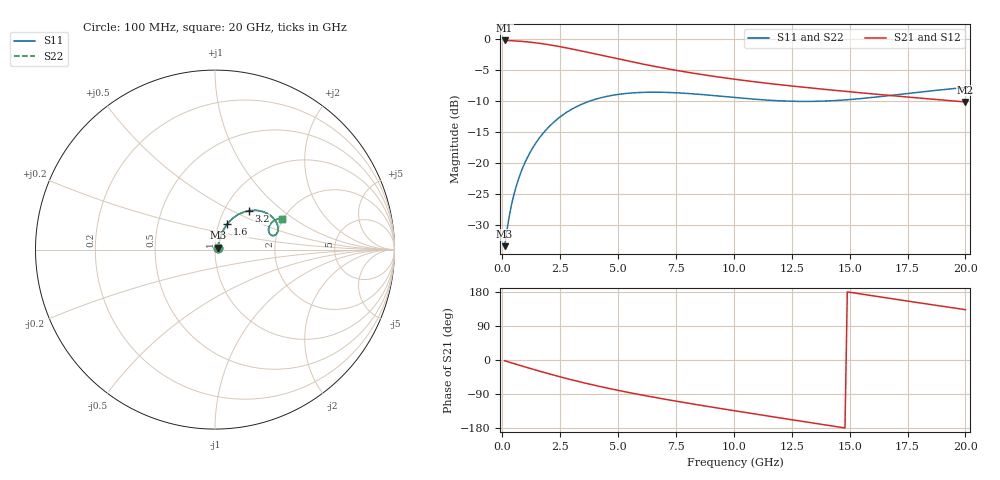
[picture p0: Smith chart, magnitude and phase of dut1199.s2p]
! Touchstone file exported from HFSS 2024.1.0
!  File:  C:/UserFiles/LocalFiles/RDL_TSV_Batchsim/temp_RDL_TSV_1199_1780130097.aedt
!  Generated:  04:47:11 PM May 30, 2026
!  Design:  RDL_TSV
!  Project:  temp_RDL_TSV_1199_1780130097
!  Setup:  Setup1
!  Solution:  Sweep
! Variables:
!  dtsv = 5.89um
!  hbump = 3um
!  htsv = 63.14um
!  ldown = 615.79um
!  lrdl = 410.81um
!  p = 40
!  p1 = 58.01um
!  rhole = 10um
!  subl = 3490.61um
!  t = 450um
!  tdown = 4.14um
!  trdl = 4.01um
!  viad = 10um
!  wdown = 19.66um
!  wrdl = 16.24um
!  xbump = 18um
# GHz S MA R 50.000000
! Terminal data exported
! Port[1] = TM1_1_T1
! Port[2] = TM1_4_T1
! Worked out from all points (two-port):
!   200 points, 100 MHz to 20 GHz, reference 50 ohm
!   highest |S21| = -0.16 dB at 100 MHz (marker M1); lowest = -10.1 dB at 20 GHz (marker M2)
!   |S21| within 3 dB of the highest: start of sweep to 5.021 GHz
!   lowest |S11| = -33.4 dB at 100 MHz (marker M3), VSWR 1.04, Z = 51.9 + j1.1 ohm
!   |S11| at or under -10 dB: start of sweep to 3.753 GHz; 12.58 GHz to 13.57 GHz (980.9 MHz wide, 7.5 % of centre)
!   |S22| runs from -33.4 to -7.8 dB; largest |S21 - S12| = 5.1e-14
!   S11 on the Smith chart (normalised r, x): 100 MHz: 1.04, +0.02; 1.6 GHz: 1.10, +0.32; 3.2 GHz: 1.30, +0.61; 20 GHz: 1.96, +0.81
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0.1  0.02131 29.7  0.9815 -1.9  0.9815 -1.9  0.02131 29.7
! Gamma 0 0 0 0
! Port Impedance 50 0 50 0
0.3  0.03719 55.1  0.9787 -5.7  0.9787 -5.7  0.03719 55.1
0.4  0.04621 60.1  0.9768 -7.6  0.9768 -7.6  0.04621 60.1
0.5  0.05545 63.1  0.9746 -9.4  0.9746 -9.4  0.05544 63.1
0.7  0.07431 66.1  0.9694 -13.1  0.9694 -13.1  0.0743 66.1
1.1  0.1126 66.9  0.9553 -20.4  0.9553 -20.4  0.1126 66.9
1.6  0.1596 64.2  0.931 -29.3  0.931 -29.3  0.1596 64.3
2.4  0.2289 57.1  0.8808 -42.9  0.8808 -42.9  0.2289 57.1
3.2  0.2858 49.1  0.8232 -55.4  0.8232 -55.4  0.2857 49.1
3.5  0.3032 46.1  0.8011 -59.9  0.8011 -59.9  0.3032 46.2
4.2  0.3356 39.5  0.7504 -69.7  0.7504 -69.7  0.3356 39.6
5.1  0.3615 32.1  0.6898 -81.4  0.6898 -81.4  0.3615 32.1
5.9  0.3723 26.5  0.6418 -91.0  0.6418 -91.0  0.3724 26.5
6.8  0.3743 21.4  0.5948 -101.1  0.5948 -101.1  0.3744 21.5
8.4  0.3614 15.5  0.528 -117.8  0.528 -117.8  0.3615 15.6
10.1  0.3387 13.4  0.475 -134.6  0.475 -134.6  0.3389 13.4
11.7  0.3211 14.8  0.4367 -150.0  0.4367 -150.0  0.3213 14.9
13.4  0.3158 18.8  0.4038 -166.2  0.4038 -166.2  0.3161 18.9
15  0.3267 22.8  0.3776 178.8  0.3776 178.8  0.327 22.9
16.7  0.3514 25.5  0.353 162.9  0.353 162.9  0.3517 25.6
18.4  0.3818 26.1  0.331 147.3  0.331 147.3  0.3821 26.1
20  0.4089 25.0  0.3125 132.8  0.3125 132.8  0.4092 25.0
